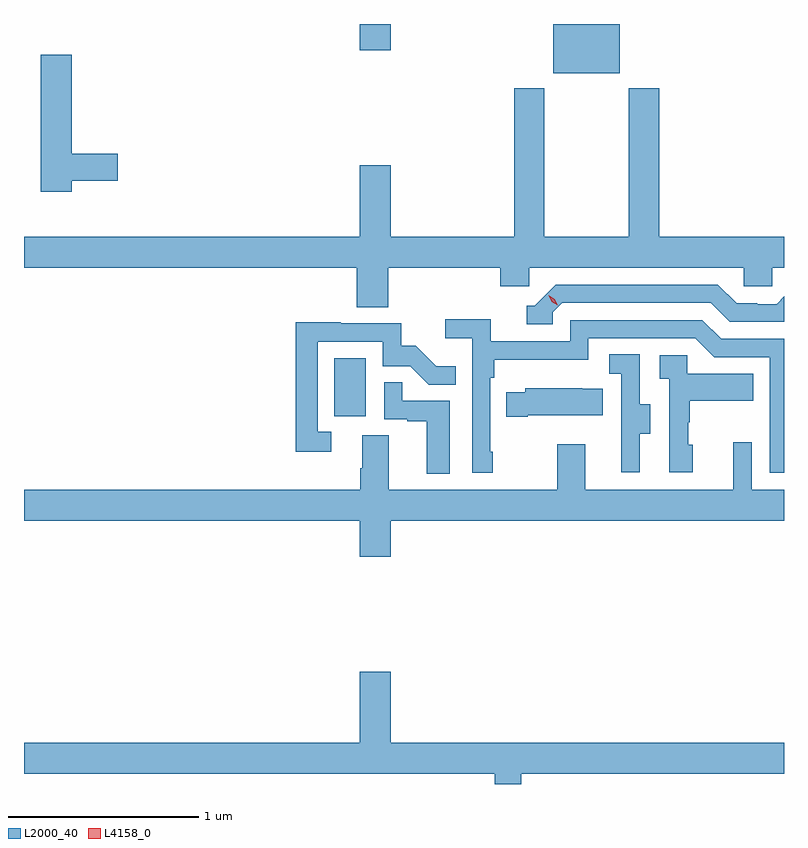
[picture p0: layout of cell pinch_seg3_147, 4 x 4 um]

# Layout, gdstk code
import gdstk
lib = gdstk.Library(unit=1e-6, precision=1e-09)
def R(c, l, rs):  # rectangles x0, y0, x1, y1
    for r in rs: c.add(gdstk.rectangle(r[:2], r[2:], *l))
def P(c, l, *ps):  # polygons
    for p in ps: c.add(gdstk.Polygon(p, *l))
L2000_40 = (2000, 40)
L4158_0 = (4158, 0)

pinch_seg3_147 = lib.new_cell('pinch_seg3_147')
R(pinch_seg3_147, L2000_40, [(1141.898,718.782,1142.062,719.089), (1143.05,720.587,1143.4,720.847), (1142.03,720.708,1142.194,720.847)])
P(pinch_seg3_147, L2000_40, [(1140.514,720.022),(1140.757,720.022),(1140.757,720.164),(1140.514,720.164),(1140.514,720.685),(1140.353,720.685),(1140.353,719.964),(1140.514,719.964)],
  [(1142.18,719.564),(1142.771,719.564),(1142.771,719.466),(1142.922,719.466),(1142.922,719.564),(1144.053,719.564),(1144.053,719.466),(1144.203,719.466),(1144.203,719.564),(1144.264,719.564),(1144.264,719.728),(1143.608,719.728),(1143.608,720.508),(1143.448,720.508),(1143.448,719.728),(1143.003,719.728),(1143.003,720.508),(1142.843,720.508),(1142.843,719.728),(1142.194,719.728),(1142.194,720.103),(1142.03,720.103),(1142.03,719.728),(1140.264,719.728),(1140.264,719.564),(1142.015,719.564),(1142.015,719.356),(1142.18,719.356)],
  [(1143.048,719.331),(1143.096,719.379),(1143.879,719.379),(1143.978,719.28),(1144.264,719.28),(1144.264,719.413),(1144.225,719.373),(1144.122,719.373),(1144.122,719.376),(1144.015,719.376),(1143.916,719.475),(1143.063,719.475),(1142.952,719.364),(1142.909,719.364),(1142.909,719.268),(1143.048,719.268)],
  [(1142.731,718.597),(1142.718,718.597),(1142.718,718.985),(1142.738,718.985),(1142.738,719.081),(1143.234,719.081),(1143.234,719.193),(1143.798,719.193),(1143.897,719.094),(1144.188,719.094),(1144.188,718.485),(1144.264,718.485),(1144.264,719.19),(1143.934,719.19),(1143.835,719.289),(1143.138,719.289),(1143.138,719.178),(1142.72,719.178),(1142.72,719.294),(1142.481,719.294),(1142.481,719.192),(1142.622,719.192),(1142.622,718.485),(1142.731,718.485)],
  [(1141.882,718.701),(1141.809,718.701),(1141.809,719.175),(1142.151,719.175),(1142.151,719.046),(1142.296,719.046),(1142.394,718.948),(1142.537,718.948),(1142.537,719.047),(1142.433,719.047),(1142.326,719.154),(1142.25,719.154),(1142.25,719.271),(1141.931,719.271),(1141.931,719.276),(1141.693,719.276),(1141.693,718.596),(1141.882,718.596)],
  [(1143.505,718.69),(1143.559,718.69),(1143.559,718.845),(1143.504,718.845),(1143.504,719.108),(1143.345,719.108),(1143.345,719.005),(1143.408,719.005),(1143.408,718.701),(1143.407,718.701),(1143.407,718.488),(1143.505,718.488)],
  [(1143.784,718.632),(1143.759,718.632),(1143.759,718.751),(1143.769,718.751),(1143.769,718.865),(1144.103,718.865),(1144.103,719.005),(1143.756,719.005),(1143.756,719.103),(1143.609,719.103),(1143.609,718.979),(1143.66,718.979),(1143.66,718.488),(1143.784,718.488)],
  [(1142.506,718.863),(1142.255,718.863),(1142.255,718.961),(1142.16,718.961),(1142.16,718.767),(1142.281,718.767),(1142.281,718.755),(1142.384,718.755),(1142.384,718.481),(1142.506,718.481)],
  [(1142.914,718.787),(1143.311,718.787),(1143.311,718.927),(1143.203,718.927),(1143.203,718.93),(1142.901,718.93),(1142.901,718.909),(1142.803,718.909),(1142.803,718.78),(1142.914,718.78)],
  [(1142.194,718.232),(1144.264,718.232),(1144.264,718.396),(1144.095,718.396),(1144.095,718.645),(1143.998,718.645),(1143.998,718.396),(1143.217,718.396),(1143.217,718.636),(1143.07,718.636),(1143.07,718.396),(1142.185,718.396),(1142.185,718.682),(1142.045,718.682),(1142.045,718.508),(1142.033,718.508),(1142.033,718.396),(1140.264,718.396),(1140.264,718.232),(1142.03,718.232),(1142.03,718.044),(1142.194,718.044)],
  [(1142.881,716.9),(1144.264,716.9),(1144.264,717.064),(1142.194,717.064),(1142.194,717.439),(1142.03,717.439),(1142.03,717.064),(1140.264,717.064),(1140.264,716.9),(1142.741,716.9),(1142.741,716.847),(1142.881,716.847)])
P(pinch_seg3_147, L4158_0, [(1143.073,719.366),(1143.042,719.386),(1143.026,719.418),(1143.026,719.419),(1143.027,719.419),(1143.057,719.399),(1143.073,719.366),(1143.073,719.366)])

lib.write_gds('pinch_seg3_147.gds')
